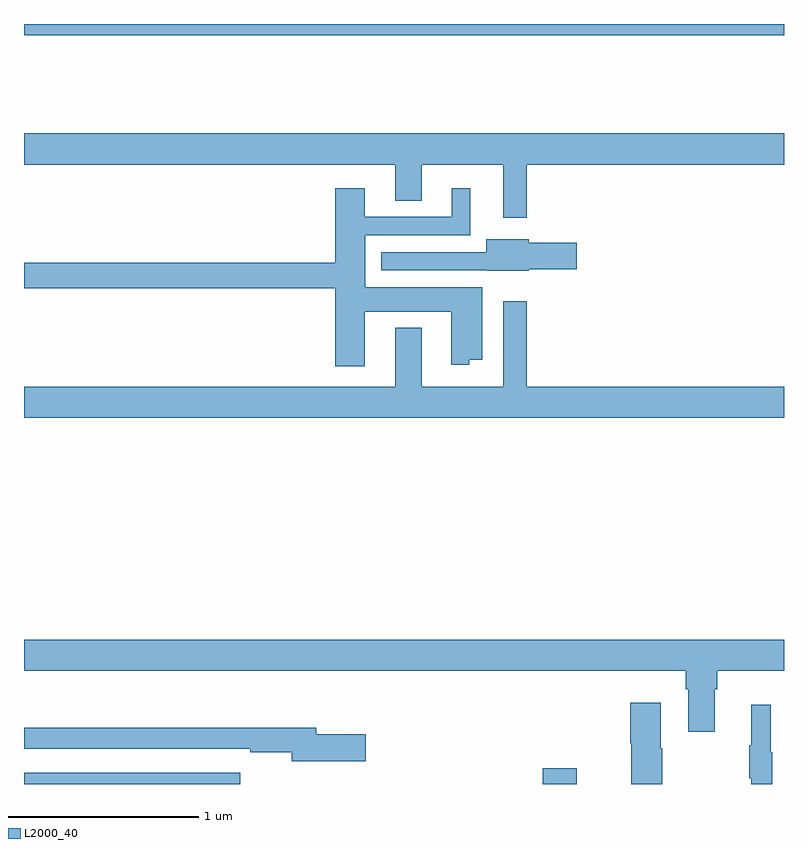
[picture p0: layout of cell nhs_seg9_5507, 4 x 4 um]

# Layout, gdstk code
import gdstk
lib = gdstk.Library(unit=1e-6, precision=1e-09)
def R(c, l, rs):  # rectangles x0, y0, x1, y1
    for r in rs: c.add(gdstk.rectangle(r[:2], r[2:], *l))
def P(c, l, *ps):  # polygons
    for p in ps: c.add(gdstk.Polygon(p, *l))
L2000_40 = (2000, 40)

nhs_seg9_5507 = lib.new_cell('nhs_seg9_5507')
R(nhs_seg9_5507, L2000_40, [(431,1186.5,432.137,1186.56), (433.73,1186.5,433.908,1186.582), (431,1190.44,435,1190.5)])
P(nhs_seg9_5507, L2000_40, [(433.645,1189.76),(435,1189.76),(435,1189.924),(431,1189.924),(431,1189.76),(432.953,1189.76),(432.953,1189.57),(433.093,1189.57),(433.093,1189.76),(433.523,1189.76),(433.523,1189.479),(433.645,1189.479)],
  [(432.793,1188.986),(433.248,1188.986),(433.248,1188.707),(433.344,1188.707),(433.344,1188.734),(433.411,1188.734),(433.411,1189.114),(432.796,1189.114),(432.796,1189.389),(433.348,1189.389),(433.348,1189.636),(433.25,1189.636),(433.25,1189.485),(432.793,1189.485),(432.793,1189.636),(432.638,1189.636),(432.638,1189.244),(431,1189.244),(431,1189.108),(432.638,1189.108),(432.638,1188.699),(432.793,1188.699)],
  [(433.656,1189.208),(433.909,1189.208),(433.909,1189.35),(433.656,1189.35),(433.656,1189.366),(433.433,1189.366),(433.433,1189.299),(432.881,1189.299),(432.881,1189.203),(433.437,1189.203),(433.437,1189.202),(433.656,1189.202)],
  [(435,1188.592),(433.645,1188.592),(433.645,1189.042),(433.523,1189.042),(433.523,1188.592),(433.093,1188.592),(433.093,1188.901),(432.953,1188.901),(432.953,1188.592),(431,1188.592),(431,1188.428),(435,1188.428)],
  [(434.635,1187),(434.648,1187),(434.648,1187.096),(435,1187.096),(435,1187.26),(431,1187.26),(431,1187.096),(434.483,1187.096),(434.483,1187),(434.495,1187),(434.495,1186.776),(434.635,1186.776)],
  [(434.358,1186.688),(434.35,1186.688),(434.35,1186.927),(434.192,1186.927),(434.192,1186.714),(434.197,1186.714),(434.197,1186.5),(434.358,1186.5)],
  [(434.938,1186.668),(434.93,1186.668),(434.93,1186.918),(434.828,1186.918),(434.828,1186.705),(434.817,1186.705),(434.817,1186.531),(434.828,1186.531),(434.828,1186.5),(434.938,1186.5)],
  [(432.799,1186.761),(432.538,1186.761),(432.538,1186.795),(431,1186.795),(431,1186.686),(432.19,1186.686),(432.19,1186.666),(432.41,1186.666),(432.41,1186.619),(432.799,1186.619)])

lib.write_gds('nhs_seg9_5507.gds')
